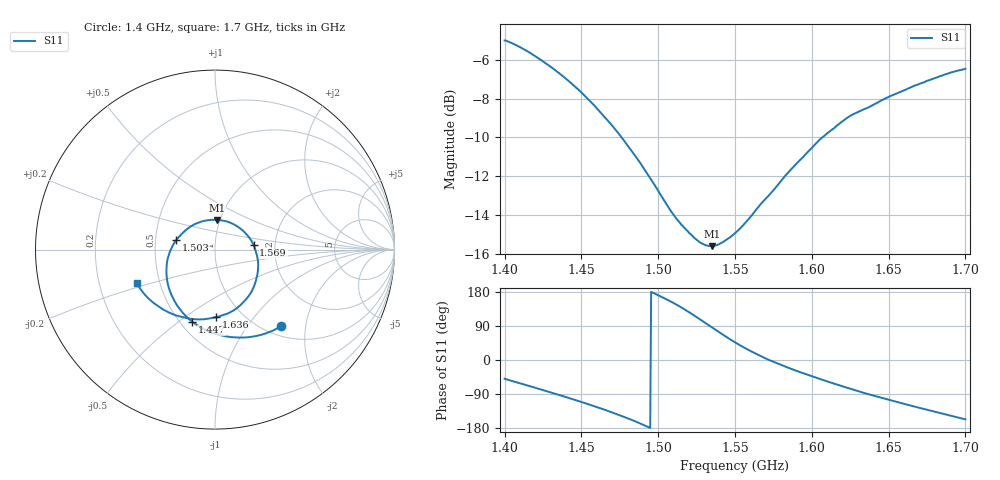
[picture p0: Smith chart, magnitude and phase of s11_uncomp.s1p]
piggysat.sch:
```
<QucsStudio Schematic 5.9>
<Properties>
View=0,-26.6667,1215,1000,1,0,0
Grid=10,10,1
DataSet=*.dat
DataDisplay=*.dpl
OpenDisplay=3
showFrame=0
FrameText0=Title \n @PATH@@FILE@
FrameText1=Drawn By:
FrameText2=Date: @DATE@
FrameText3=Revision:
</Properties>
<Symbol>
</Symbol>
<Components>
GND * 1 60 220 0 0 0
GND * 1 420 220 0 0 0
Pac P1 1 60 190 18 -26 0 "1"1"50 Ω"1"0 dBm"0"1 GHz"0"26.85"0"con_2"0
GND * 1 310 220 0 0 0
.SP SP1 1 70 320 0 10 0 "lin"1"1.4 GHz"1"1.70 GHz"1"500"1"no"1"1"0"2"0"none"0
C C1 1 180 160 -26 17 0 "2.2 pF"1"0"0""0"neutral"0"SMD0603"0
SPfile X1 1 420 160 -26 -59 0 "G:/My Drive/Progetti/PiggySat/Measurements/s11_uncomp.s1p"1"1"0"polar"0"linear"0"short"0"none"0"block"0"SOT23"0
L L1 1 310 190 -75 -26 3 "6.8 nH"1"0"0""0"inductor_1mH"0
</Components>
<Wires>
420 190 420 220
210 160 310 160
60 160 150 160
310 160 390 160
</Wires>
<Diagrams>
<Rect 570 240 360 220 71 #c0c0c0 1 00 1 1.4e+09 5e+07 1.7e+09 1 -1 0.5 1 1 -16.0269 5 -1.6219 -1 -1 -1 "" "" "">
	<Legend 10 -100 0>
	<"dB(S[1,1])" "" #ff0000 2 3 0 0 1 0 "">
	  <Mkr 1.57315e+09 -120 -240 3 1 0 0 0 50>
	  <Mkr 1.64349e+09 410 -220 3 1 0 0 0 50>
</Rect>
<Smith 570 680 373 373 31 #c0c0c0 1 00 1 0 1 1 1 0 4 1 1 0 4 1 -1 -1 -1 "" "" "">
	<Legend 10 -100 0>
	<"S[1,1]" "" #0000ff 2 3 0 0 0 1 "">
	  <Mkr 1.63988e+09 210 -320 3 1 0 0 1 50>
	  <Mkr 1.53888e+09 -70 -290 3 1 0 0 1 50>
</Smith>
</Diagrams>
<Paintings>
</Paintings>
```
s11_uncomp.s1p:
# GHZ S RI R 50.000000000000
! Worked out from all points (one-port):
!   501 points, 1.4 GHz to 1.7 GHz, reference 50 ohm
!   lowest |S11| = -15.6 dB at 1.535 GHz (marker M1), VSWR 1.40, Z = 48.4 + j16.5 ohm
!   |S11| at or under -10 dB: 1.476 GHz to 1.607 GHz (130.8 MHz wide, 8.49 % of centre)
!   S11 on the Smith chart (normalised r, x): 1.4 GHz: 1.17, -1.46; 1.447 GHz: 0.57, -0.56; 1.503 GHz: 0.64, +0.07; 1.569 GHz: 1.55, +0.08; 1.636 GHz: 0.76, -0.67; 1.7 GHz: 0.37, -0.18
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1.4  0.3657 -0.4265
1.4228  0.1158 -0.4893
1.4474  -0.1255 -0.4032
1.4744  -0.2643 -0.1855
1.5002  -0.2266 0.0378
1.5026  -0.2146 0.055
1.5206  -0.1024 0.1465
1.535  0.0111 0.1655
1.55  0.1232 0.1301
1.5686  0.2155 0.0248
1.6004  0.2173 -0.2043
1.6358  0.00567 -0.3761
1.6664  -0.2298 -0.3619
1.7  -0.4358 -0.1888
